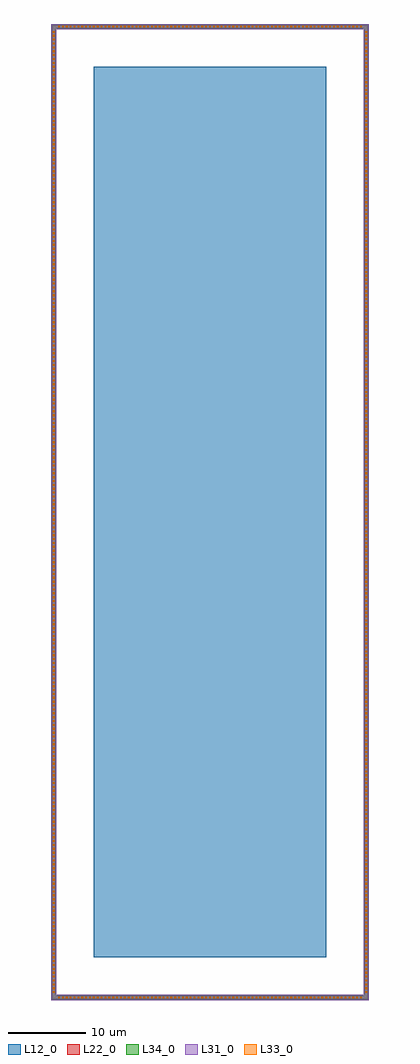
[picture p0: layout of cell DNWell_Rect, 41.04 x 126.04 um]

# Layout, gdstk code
import gdstk
lib = gdstk.Library(unit=1e-6, precision=5e-09)
def R(c, l, rs):  # rectangles x0, y0, x1, y1
    for r in rs: c.add(gdstk.rectangle(r[:2], r[2:], *l))
def A(c, l, x, y, w, h, nx, ny, dx, dy):  # array of equal rectangles
    R(c, l, [(x+i*dx, y+j*dy, x+i*dx+w, y+j*dy+h) for i in range(nx) for j in range(ny)])
def P(c, l, *ps):  # polygons
    for p in ps: c.add(gdstk.Polygon(p, *l))
L12_0 = (12, 0)
L22_0 = (22, 0)
L31_0 = (31, 0)
L33_0 = (33, 0)
L34_0 = (34, 0)

dnwell_rect = lib.new_cell('DNWell_Rect')
R(dnwell_rect, L12_0, [(-15,-57.5,15,57.5)])
A(dnwell_rect, L22_0, -19.68, -62.86, 0.36, 0.36, 79, 2, 0.5, 125.36)
A(dnwell_rect, L22_0, -20.36, -62.18, 0.36, 0.36, 1, 249, 0, 0.5)
A(dnwell_rect, L22_0, 20, -62.18, 0.36, 0.36, 1, 249, 0, 0.5)
R(dnwell_rect, L22_0, [(-19.68,-62.86,19.68,-62.5), (-20.36,-62.18,-20,62.18), (20,-62.18,20.36,62.18), (-19.68,62.5,19.68,62.86)])
P(dnwell_rect, L22_0, [(-20.36,-62.86),(-20.36,-62.5),(-20,-62.5),(20,-62.5),(20,62.5),(-20,62.5),(-20,-62.5),(-20.36,-62.5),(-20.36,62.86),(20.36,62.86),(20.36,-62.86)])
P(dnwell_rect, L31_0, [(-20.52,-63.02),(-20.52,-62.34),(-19.84,-62.34),(19.84,-62.34),(19.84,62.34),(-19.84,62.34),(-19.84,-62.34),(-20.52,-62.34),(-20.52,63.02),(20.52,63.02),(20.52,-63.02)])
A(dnwell_rect, L33_0, -19.61, -62.79, 0.22, 0.22, 79, 2, 0.5, 125.36)
A(dnwell_rect, L33_0, -20.29, -62.11, 0.22, 0.22, 1, 249, 0, 0.5)
A(dnwell_rect, L33_0, 20.07, -62.11, 0.22, 0.22, 1, 249, 0, 0.5)
A(dnwell_rect, L34_0, -19.73, -62.91, 0.46, 0.46, 79, 2, 0.5, 125.36)
A(dnwell_rect, L34_0, -20.41, -62.23, 0.46, 0.46, 1, 249, 0, 0.5)
A(dnwell_rect, L34_0, 19.95, -62.23, 0.46, 0.46, 1, 249, 0, 0.5)
R(dnwell_rect, L34_0, [(-20.41,-62.91,-20,-62.45), (-20.41,-62.91,-19.95,-62.5), (-20,-62.91,20,-62.45), (19.95,-62.91,20.41,-62.5), (20,-62.91,20.41,-62.45), (-20.41,-62.5,-19.95,62.5), (19.95,-62.5,20.41,62.5), (-20.41,62.45,-20,62.91), (-20,62.45,20,62.91), (20,62.45,20.41,62.91), (-20.41,62.5,-19.95,62.91), (19.95,62.5,20.41,62.91)])

lib.write_gds('DNWell_Rect.gds')
